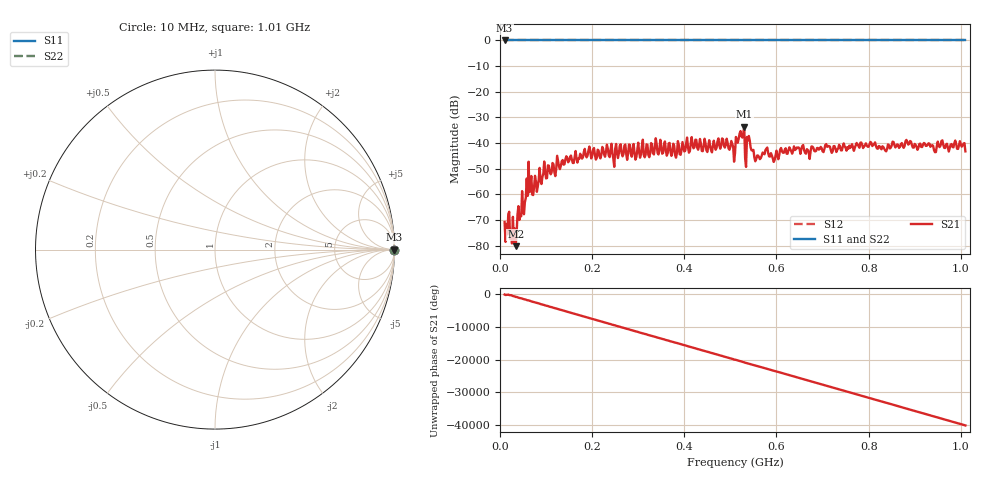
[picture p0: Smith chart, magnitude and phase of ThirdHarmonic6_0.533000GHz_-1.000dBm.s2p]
! 8/15/2025 4:37:53 PM
! C:\ANRITSUVNA\TEMP\TEMP.S2P
! CHANNEL.1
! TR.MEASUREMENT
! RAW.DATA
! RF.CORRECTION.OFF
! AVERAGING.OFF
! IF.BANDWIDTH: 5KHZ
! SWEEPTYPE:  FREQ.SWEEP(Linear)
! Reference Plane Port Info
! PORT:  PORT1  PORT2
! DISTANCE:  0  m  0  m
! TIME:  0  s  0  s
! PHASE.OFFSET:  0  deg.  0  deg.
! LOSS:  0  dB  0  dB
! REF.LOSS:  0  dB  0  dB
! REF.FREQ:  0  Hz  0  Hz
! Power Info
! POWER:  -20  dBm  -20  dBm
! EFF.POWER:  -20  dBm  -20  dBm
! SOURCE.ATTEN:  0  dB  0  dB
! TEST.ATTEN:  0  dB  0  dB
# GHZ S RI R 50.0
! FREQ.GHZ  S11RE  S11IM  S21RE  S21IM  S12RE  S12IM  S22RE  S22IM
!; PortSelection: Port_12
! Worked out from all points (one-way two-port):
!   501 points, 10 MHz to 1.01 GHz, reference 50 ohm
!   highest |S21| = -33.66 dB at 530 MHz (marker M1); lowest = -80.2 dB at 34 MHz (marker M2)
!   lowest |S11| = 0.0 dB at 10 MHz (marker M3)
!   |S11| at or under -10 dB: nowhere
!   |S22| runs from 0.0 to 0.0 dB; largest |S21 - S12| = 1
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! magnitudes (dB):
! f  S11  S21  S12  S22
! 10 MHz  0.0  -70.7  0.0  0.0
! 34 MHz  0.0  -80.2  0.0  0.0
! 44 MHz  0.0  -67.9  0.0  0.0
! 56 MHz  0.0  -61.4  0.0  0.0
! 58 MHz  0.0  -53.8  0.0  0.0
! 62 MHz  0.0  -47.2  0.0  0.0
! 74 MHz  0.0  -57.0  0.0  0.0
! 100 MHz  0.0  -53.8  0.0  0.0
! 178 MHz  0.0  -46.0  0.0  0.0
! 344 MHz  0.0  -44.4  0.0  0.0
! 510 MHz  0.0  -43.9  0.0  0.0
! 526 MHz  0.0  -37.8  0.0  0.0
! 530 MHz  0.0  -33.7  0.0  0.0
! 536 MHz  0.0  -37.6  0.0  0.0
! 540 MHz  0.0  -37.2  0.0  0.0
! 556 MHz  0.0  -46.3  0.0  0.0
! 576 MHz  0.0  -42.8  0.0  0.0
! 594 MHz  0.0  -47.3  0.0  0.0
! 612 MHz  0.0  -43.2  0.0  0.0
! 678 MHz  0.0  -41.4  0.0  0.0
! 844 MHz  0.0  -40.8  0.0  0.0
! 1.01 GHz  0.0  -43.2  0.0  0.0
